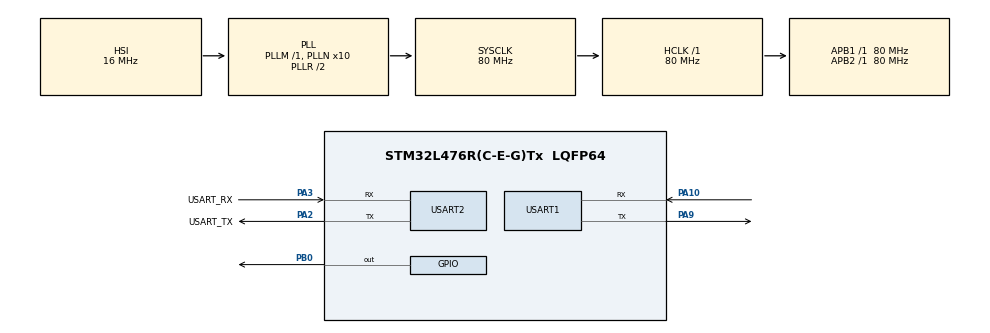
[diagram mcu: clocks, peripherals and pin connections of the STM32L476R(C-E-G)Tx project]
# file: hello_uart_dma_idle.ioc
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Mcu.Family=STM32L4
PA2.GPIO_PuPd=GPIO_NOPULL
VP_SYS_VS_tim6.Mode=TIM6
RCC.CortexFreq_Value=80000000
NVIC.TIM6_DAC_IRQn=true\:0\:0\:false\:false\:true\:false\:false\:true
PH0-OSC_IN\ (PH0).Signal=RCC_OSC_IN
Dma.USART2_TX.1.MemInc=DMA_MINC_ENABLE
PA3.GPIO_PuPd=GPIO_NOPULL
PA2.GPIO_Speed=GPIO_SPEED_FREQ_VERY_HIGH
PC15-OSC32_OUT\ (PC15).Mode=LSE-External-Oscillator
PA3.GPIO_Speed=GPIO_SPEED_FREQ_VERY_HIGH
RCC.SYSCLKSource=RCC_SYSCLKSOURCE_PLLCLK
ProjectManager.StackSize=0x400
PB3\ (JTDO-TRACESWO).Signal=SYS_JTDO-SWO
VP_FREERTOS_VS_CMSIS_V2.Mode=CMSIS_V2
PC14-OSC32_IN\ (PC14).Mode=LSE-External-Oscillator
PA14\ (JTCK-SWCLK).Signal=SYS_JTCK-SWCLK
Dma.USART2_RX.0.Priority=DMA_PRIORITY_LOW
Dma.USART2_RX.0.PeriphDataAlignment=DMA_PDATAALIGN_BYTE
RCC.HCLKFreq_Value=80000000
RCC.APB2TimFreq_Value=80000000
Dma.USART2_TX.1.Mode=DMA_NORMAL
RCC.AHBFreq_Value=80000000
RCC.PREFETCH_ENABLE=1
RCC.HSE_VALUE=8000000
USART2.VirtualMode-Asynchronous=VM_ASYNC
Dma.USART2_RX.0.MemDataAlignment=DMA_MDATAALIGN_BYTE
Dma.USART2_TX.1.Instance=DMA1_Channel7
Dma.USART2_RX.0.Instance=DMA1_Channel6
Mcu.Package=LQFP64
NVIC.TimeBase=TIM6_DAC_IRQn
Dma.USART2_RX.0.PeriphInc=DMA_PINC_DISABLE
PA2.GPIO_Label=USART_TX
NVIC.TimeBaseIP=TIM6
PA10.Signal=USART1_RX
Dma.Request1=USART2_TX
RCC.APB1TimFreq_Value=80000000
PA13\ (JTMS-SWDIO).Signal=SYS_JTMS-SWDIO
NVIC.USART1_IRQn=true\:5\:0\:false\:false\:true\:true\:true\:true
Dma.Request0=USART2_RX
PA3.Signal=USART2_RX
PA2.GPIO_Mode=GPIO_MODE_AF_PP
RCC.MSI_VALUE=4000000
RCC.PLLSourceVirtual=RCC_PLLSOURCE_HSI
PA14\ (JTCK-SWCLK).Mode=Serial_Wire
NVIC.DMA1_Channel6_IRQn=true\:5\:0\:false\:false\:true\:true\:false\:true
Dma.USART2_TX.1.Priority=DMA_PRIORITY_LOW
FREERTOS.Tasks01=uartTask,24,128,StartUARTTask,Default,NULL,Dynamic,NULL,NULL
PA10.Mode=Asynchronous
Dma.USART2_RX.0.Direction=DMA_PERIPH_TO_MEMORY
PC15-OSC32_OUT\ (PC15).Signal=RCC_OSC32_OUT
PA14\ (JTCK-SWCLK).GPIO_Label=TCK
PB3\ (JTDO-TRACESWO).GPIO_Label=SWO
Dma.USART2_TX.1.PeriphDataAlignment=DMA_PDATAALIGN_BYTE
NVIC.USART2_IRQn=true\:5\:0\:false\:false\:true\:true\:true\:true
PH1-OSC_OUT\ (PH1).Signal=RCC_OSC_OUT
Dma.USART2_RX.0.Mode=DMA_CIRCULAR
USART1.VirtualMode-Asynchronous=VM_ASYNC
PA3.Mode=Asynchronous
PA9.Mode=Asynchronous
ProjectManager.TargetToolchain=STM32CubeIDE
PA3.GPIO_Mode=GPIO_MODE_AF_PP
PA9.Signal=USART1_TX
RCC.USBFreq_Value=64000000
Dma.USART2_TX.1.PeriphInc=DMA_PINC_DISABLE
board=NUCLEO-L476RG
RCC.VCOOutputFreq_Value=160000000
Dma.USART2_TX.1.Direction=DMA_MEMORY_TO_PERIPH
RCC.APB2Freq_Value=80000000
PA13\ (JTMS-SWDIO).GPIO_Label=TMS
RCC.ADCFreq_Value=64000000
Mcu.Name=STM32L476R(C-E-G)Tx
Dma.USART2_RX.0.MemInc=DMA_MINC_ENABLE
PA2.Signal=USART2_TX
PA13\ (JTMS-SWDIO).Mode=Serial_Wire
RCC.SYSCLKFreq_VALUE=80000000
PC14-OSC32_IN\ (PC14).Signal=RCC_OSC32_IN
ProjectManager.HeapSize=0x200
RCC.HSI_VALUE=16000000
NVIC.PriorityGroup=NVIC_PRIORITYGROUP_4
RCC.PLLN=10
PA2.Mode=Asynchronous
NVIC.DMA1_Channel7_IRQn=true\:5\:0\:false\:false\:true\:true\:false\:true
Dma.USART2_TX.1.MemDataAlignment=DMA_MDATAALIGN_BYTE
RCC.APB1Freq_Value=80000000
PB0.Signal=GPIO_Output
PA3.GPIO_Label=USART_RX

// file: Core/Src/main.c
/* USER CODE BEGIN Header */
/**
  ******************************************************************************
  * @file           : main.c
  * @brief          : Main program body
  ******************************************************************************
  * @attention
  *
  * <h2><center>&copy; Copyright (c) 2021 STMicroelectronics.
  * All rights reserved.</center></h2>
  *
  * This software component is licensed by ST under BSD 3-Clause license,
  * the "License"; You may not use this file except in compliance with the
  * License. You may obtain a copy of the License at:
  *                        opensource.org/licenses/BSD-3-Clause
  *
  ******************************************************************************
  */
/* USER CODE END Header */
#include "main.h"
#include "cmsis_os.h"

/* USER CODE BEGIN Includes */
#include <stdio.h>
#include <string.h>
#include "UART_DMA_IDLE.h"
/* USER CODE END Includes */

/* USER CODE BEGIN PD */
#ifdef __GNUC__
	#define PUTCHAR_PROTOTYPE int __io_putchar(int ch)
#else
	#define PUTCHAR_PROTOTYPE int fputc(int ch, FILE *f)
#endif
/* USER CODE END PD */

UART_HandleTypeDef huart1;
UART_HandleTypeDef huart2;
DMA_HandleTypeDef hdma_usart2_rx;
DMA_HandleTypeDef hdma_usart2_tx;

/* Definitions for uartTask */
osThreadId_t uartTaskHandle;
const osThreadAttr_t uartTask_attributes = {
  .name = "uartTask",
  .stack_size = 128 * 4,
  .priority = (osPriority_t) osPriorityNormal,
};

void SystemClock_Config(void);
static void MX_GPIO_Init(void);
static void MX_DMA_Init(void);
static void MX_USART2_UART_Init(void);
static void MX_USART1_UART_Init(void);
void StartUARTTask(void *argument);

/* USER CODE BEGIN 0 */
#define RX2_BUFFER_SIZE UART_BUFFER_SIZE
#define TX2_BUFFER_SIZE UART_BUFFER_SIZE

uint8_t rx2Buffer[RX2_BUFFER_SIZE];
char tx2Buffer[TX2_BUFFER_SIZE];

extern UARTRingBufferHandle_t xUART2RingBuffer;

/* USER CODE END 0 */

int main(void)
{

  /* MCU Configuration--------------------------------------------------------*/

  /* Reset of all peripherals, Initializes the Flash interface and the Systick. */
  HAL_Init();

  /* Configure the system clock */
  SystemClock_Config();

  /* Initialize all configured peripherals */
  MX_GPIO_Init();
  MX_DMA_Init();
  MX_USART2_UART_Init();
  MX_USART1_UART_Init();
  /* USER CODE BEGIN 2 */
  vInitUARTRingBuffer(&xUART2RingBuffer,
  		&huart2,
			(uint8_t *)rx2Buffer, RX2_BUFFER_SIZE,
  		(uint8_t *)tx2Buffer, TX2_BUFFER_SIZE);

  /* USER CODE END 2 */

  /* Init scheduler */
  osKernelInitialize();

  /* Create the thread(s) */
  /* creation of uartTask */
  uartTaskHandle = osThreadNew(StartUARTTask, NULL, &uartTask_attributes);

  /* Start scheduler */
  osKernelStart();

  /* We should never get here as control is now taken by the scheduler */
  /* Infinite loop */
  while (1)
  {

  }
}

void SystemClock_Config(void)
{
  RCC_OscInitTypeDef RCC_OscInitStruct = {0};
  RCC_ClkInitTypeDef RCC_ClkInitStruct = {0};
  RCC_PeriphCLKInitTypeDef PeriphClkInit = {0};

  /** Initializes the RCC Oscillators according to the specified parameters
  * in the RCC_OscInitTypeDef structure.
  */
  RCC_OscInitStruct.OscillatorType = RCC_OSCILLATORTYPE_HSI;
  RCC_OscInitStruct.HSIState = RCC_HSI_ON;
  RCC_OscInitStruct.HSICalibrationValue = RCC_HSICALIBRATION_DEFAULT;
  RCC_OscInitStruct.PLL.PLLState = RCC_PLL_ON;
  RCC_OscInitStruct.PLL.PLLSource = RCC_PLLSOURCE_HSI;
  RCC_OscInitStruct.PLL.PLLM = 1;
  RCC_OscInitStruct.PLL.PLLN = 10;
  RCC_OscInitStruct.PLL.PLLP = RCC_PLLP_DIV7;
  RCC_OscInitStruct.PLL.PLLQ = RCC_PLLQ_DIV2;
  RCC_OscInitStruct.PLL.PLLR = RCC_PLLR_DIV2;
  if (HAL_RCC_OscConfig(&RCC_OscInitStruct) != HAL_OK)
  {
    Error_Handler();
  }
  /** Initializes the CPU, AHB and APB buses clocks
  */
  RCC_ClkInitStruct.ClockType = RCC_CLOCKTYPE_HCLK|RCC_CLOCKTYPE_SYSCLK
                              |RCC_CLOCKTYPE_PCLK1|RCC_CLOCKTYPE_PCLK2;
  RCC_ClkInitStruct.SYSCLKSource = RCC_SYSCLKSOURCE_PLLCLK;
  RCC_ClkInitStruct.AHBCLKDivider = RCC_SYSCLK_DIV1;
  RCC_ClkInitStruct.APB1CLKDivider = RCC_HCLK_DIV1;
  RCC_ClkInitStruct.APB2CLKDivider = RCC_HCLK_DIV1;

  if (HAL_RCC_ClockConfig(&RCC_ClkInitStruct, FLASH_LATENCY_4) != HAL_OK)
  {
    Error_Handler();
  }
  PeriphClkInit.PeriphClockSelection = RCC_PERIPHCLK_USART1|RCC_PERIPHCLK_USART2;
  PeriphClkInit.Usart1ClockSelection = RCC_USART1CLKSOURCE_PCLK2;
  PeriphClkInit.Usart2ClockSelection = RCC_USART2CLKSOURCE_PCLK1;
  if (HAL_RCCEx_PeriphCLKConfig(&PeriphClkInit) != HAL_OK)
  {
    Error_Handler();
  }
  /** Configure the main internal regulator output voltage
  */
  if (HAL_PWREx_ControlVoltageScaling(PWR_REGULATOR_VOLTAGE_SCALE1) != HAL_OK)
  {
    Error_Handler();
  }
}

static void MX_USART1_UART_Init(void)
{

  huart1.Instance = USART1;
  huart1.Init.BaudRate = 115200;
  huart1.Init.WordLength = UART_WORDLENGTH_8B;
  huart1.Init.StopBits = UART_STOPBITS_1;
  huart1.Init.Parity = UART_PARITY_NONE;
  huart1.Init.Mode = UART_MODE_TX_RX;
  huart1.Init.HwFlowCtl = UART_HWCONTROL_NONE;
  huart1.Init.OverSampling = UART_OVERSAMPLING_16;
  huart1.Init.OneBitSampling = UART_ONE_BIT_SAMPLE_DISABLE;
  huart1.AdvancedInit.AdvFeatureInit = UART_ADVFEATURE_NO_INIT;
  if (HAL_UART_Init(&huart1) != HAL_OK)
  {
    Error_Handler();
  }

}

static void MX_USART2_UART_Init(void)
{

  huart2.Instance = USART2;
  huart2.Init.BaudRate = 115200;
  huart2.Init.WordLength = UART_WORDLENGTH_8B;
  huart2.Init.StopBits = UART_STOPBITS_1;
  huart2.Init.Parity = UART_PARITY_NONE;
  huart2.Init.Mode = UART_MODE_TX_RX;
  huart2.Init.HwFlowCtl = UART_HWCONTROL_NONE;
  huart2.Init.OverSampling = UART_OVERSAMPLING_16;
  huart2.Init.OneBitSampling = UART_ONE_BIT_SAMPLE_DISABLE;
  huart2.AdvancedInit.AdvFeatureInit = UART_ADVFEATURE_NO_INIT;
  if (HAL_UART_Init(&huart2) != HAL_OK)
  {
    Error_Handler();
  }

}

static void MX_DMA_Init(void)
{

  /* DMA controller clock enable */
  __HAL_RCC_DMA1_CLK_ENABLE();

  /* DMA interrupt init */
  /* DMA1_Channel6_IRQn interrupt configuration */
  HAL_NVIC_SetPriority(DMA1_Channel6_IRQn, 5, 0);
  HAL_NVIC_EnableIRQ(DMA1_Channel6_IRQn);
  /* DMA1_Channel7_IRQn interrupt configuration */
  HAL_NVIC_SetPriority(DMA1_Channel7_IRQn, 5, 0);
  HAL_NVIC_EnableIRQ(DMA1_Channel7_IRQn);

}

static void MX_GPIO_Init(void)
{
  GPIO_InitTypeDef GPIO_InitStruct = {0};

  /* GPIO Ports Clock Enable */
  __HAL_RCC_GPIOC_CLK_ENABLE();
  __HAL_RCC_GPIOH_CLK_ENABLE();
  __HAL_RCC_GPIOA_CLK_ENABLE();
  __HAL_RCC_GPIOB_CLK_ENABLE();

  /*Configure GPIO pin Output Level */
  HAL_GPIO_WritePin(GPIOB, GPIO_PIN_0, GPIO_PIN_RESET);

  /*Configure GPIO pin : PB0 */
  GPIO_InitStruct.Pin = GPIO_PIN_0;
  GPIO_InitStruct.Mode = GPIO_MODE_OUTPUT_PP;
  GPIO_InitStruct.Pull = GPIO_NOPULL;
  GPIO_InitStruct.Speed = GPIO_SPEED_FREQ_LOW;
  HAL_GPIO_Init(GPIOB, &GPIO_InitStruct);

}

/* USER CODE BEGIN 4 */
PUTCHAR_PROTOTYPE
{
	HAL_UART_Transmit(&huart2, (uint8_t *)&ch, 1, HAL_MAX_DELAY);
	return ch;
}

void HAL_UART_RxCpltCallback(UART_HandleTypeDef* huart)
{
	if (huart == &huart2)
	{
		xUART2RingBuffer.xRXBuffer.uRollOver++;
	}
}

void HAL_UART_TxCpltCallback(UART_HandleTypeDef* huart)
{
	__NOP();
}

/* USER CODE END 4 */

void StartUARTTask(void *argument)
{
  /* USER CODE BEGIN 5 */
  /* Infinite loop */
  for(;;)
  {
  	//HAL_GPIO_WritePin(GPIOB, GPIO_PIN_0, GPIO_PIN_SET);
  	//HAL_GPIO_TogglePin(GPIOB, GPIO_PIN_0);

  	//HAL_UART_Transmit_DMA(&huart2, (uint8_t *)tx2Buffer, 6);

  	bTransmitCommand(&xUART2RingBuffer, "hello\r", sizeof("hello\r"));
    osDelay(500);
  	bTransmitCommand(&xUART2RingBuffer, "apple\r", sizeof("apple\r"));
    osDelay(500);
  	bTransmitCommand(&xUART2RingBuffer, "man\r", sizeof("man\r"));
    osDelay(500);

  }
  /* USER CODE END 5 */
}

 /**
  * @brief  Period elapsed callback in non blocking mode
  * @note   This function is called  when TIM6 interrupt took place, inside
  * HAL_TIM_IRQHandler(). It makes a direct call to HAL_IncTick() to increment
  * a global variable "uwTick" used as application time base.
  * @param  htim : TIM handle
  * @retval None
  */
void HAL_TIM_PeriodElapsedCallback(TIM_HandleTypeDef *htim)
{
  if (htim->Instance == TIM6) {
    HAL_IncTick();
  }
}

void Error_Handler(void)
{
  __disable_irq();
  while (1)
  {
  }
}

/************************ (C) COPYRIGHT STMicroelectronics *****END OF FILE****/
